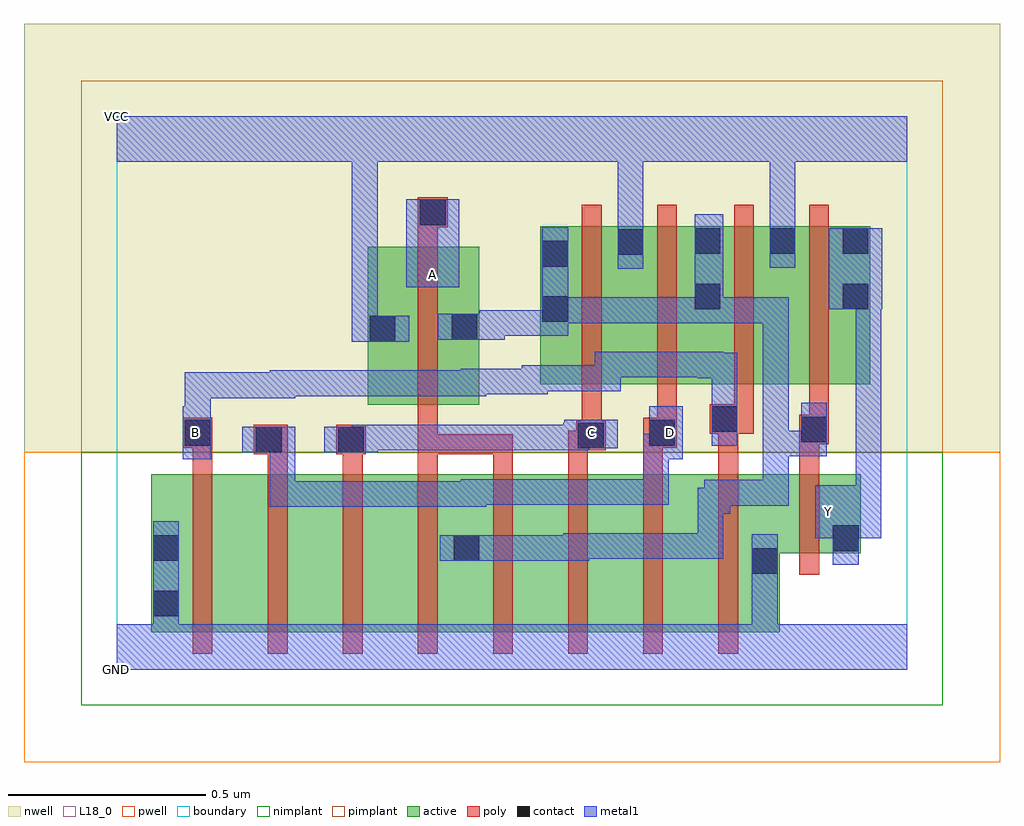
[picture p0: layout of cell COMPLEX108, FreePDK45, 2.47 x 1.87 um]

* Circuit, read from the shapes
.subckt COMPLEX108 A B C D GND VCC Y
M1 n1 B GND VSUBS nfet w=0.4u l=0.05u
M2 n2 D n1 VSUBS nfet w=0.4u l=0.05u
M3 n3 C n2 VSUBS nfet w=0.4u l=0.05u
M4 n4 A n3 VSUBS nfet w=0.4u l=0.05u
M5 n5 A n4 VSUBS nfet w=0.4u l=0.05u
M6 n6 C n5 VSUBS nfet w=0.4u l=0.05u
M7 n7 D n6 VSUBS nfet w=0.4u l=0.05u
M8 GND B n7 VSUBS nfet w=0.4u l=0.05u
M9 Y n4 GND VSUBS nfet w=0.2u l=0.05u
M10 n4 A VCC n8 pfet w=0.4u l=0.05u
M11 VCC C n4 n8 pfet w=0.4u l=0.05u
M12 n4 D VCC n8 pfet w=0.4u l=0.05u
M13 VCC B n4 n8 pfet w=0.4u l=0.05u
M14 Y n4 VCC n8 pfet w=0.4u l=0.05u
.ends

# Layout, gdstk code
import gdstk
lib = gdstk.Library(unit=1e-6, precision=1e-09)
def R(c, l, rs):  # rectangles x0, y0, x1, y1
    for r in rs: c.add(gdstk.rectangle(r[:2], r[2:], *l))
def A(c, l, x, y, w, h, nx, ny, dx, dy):  # array of equal rectangles
    R(c, l, [(x+i*dx, y+j*dy, x+i*dx+w, y+j*dy+h) for i in range(nx) for j in range(ny)])
active = (1, 0)
pwell = (2, 0)
nwell = (3, 0)
nimplant = (4, 0)
pimplant = (5, 0)
poly = (9, 0)
contact = (10, 0)
metal1 = (11, 0)
L18_0 = (18, 0)
boundary = (235, 0)

complex108 = lib.new_cell('COMPLEX108')
R(complex108, active, [(0.087,0.095,0.162,0.495), (0.087,0.095,0.312,0.495), (0.312,0.095,0.502,0.495), (0.502,0.095,0.692,0.495), (0.692,0.095,0.922,0.495), (0.847,0.095,1.072,0.495), (0.847,0.095,0.922,0.492), (1.072,0.095,1.262,0.495), (1.262,0.095,1.452,0.495), (1.452,0.095,1.677,0.495), (1.602,0.095,1.677,0.495), (1.602,0.295,1.882,0.495), (1.807,0.295,1.882,0.495), (0.635,0.67,0.917,1.07), (0.842,0.72,0.917,1.042), (1.072,0.722,1.337,1.122), (1.262,0.722,1.532,1.122), (1.457,0.722,1.722,1.122), (1.647,0.722,1.907,1.122), (1.832,0.722,1.907,1.122), (0.635,0.802,0.71,1.07), (1.072,0.822,1.147,1.12), (1.647,0.855,1.722,1.122), (1.262,0.907,1.337,1.12), (1.457,0.907,1.532,1.122)])
R(complex108, pwell, [(-0.235,-0.235,2.235,0.55)])
R(complex108, nwell, [(-0.235,0.55,2.235,1.635)])
R(complex108, nimplant, [(-0.09,-0.09,2.09,0.55)])
R(complex108, pimplant, [(-0.09,0.55,2.09,1.49)])
A(complex108, poly, 0.192, 0.04, 0.05, 0.51, 8, 1, 0.19, 0)
A(complex108, poly, 0.382, 0.5, 0.05, 0.095, 4, 1, 0.19, 0)
R(complex108, poly, [(1.727,0.24,1.777,0.55), (0.192,0.5,0.242,0.612), (1.142,0.5,1.192,0.605), (1.332,0.5,1.382,0.612), (1.522,0.5,1.572,0.647), (1.727,0.5,1.777,0.62), (0.347,0.545,0.432,0.62), (0.555,0.545,0.63,0.62), (0.572,0.545,0.622,0.595), (0.572,0.545,0.622,0.595), (0.762,0.545,0.812,0.595), (0.762,0.545,0.812,0.595), (0.762,0.545,0.812,0.595), (0.762,0.545,0.812,0.595), (0.762,0.545,0.812,0.595), (0.762,0.545,0.812,0.665), (0.762,0.545,1.002,0.595), (0.952,0.545,1.002,0.595), (1.142,0.555,1.212,0.605), (1.162,0.555,1.212,0.605), (1.162,0.555,1.237,0.63), (0.167,0.562,0.242,0.637), (0.192,0.562,0.242,0.612), (0.192,0.562,0.242,0.612), (1.332,0.562,1.417,0.637), (1.727,0.57,1.777,0.62), (1.727,0.57,1.777,0.62), (1.727,0.57,1.802,0.645), (1.177,0.58,1.227,0.717), (1.367,0.587,1.417,0.637), (1.367,0.587,1.417,0.637), (1.367,0.587,1.417,0.717), (1.752,0.595,1.802,0.717), (1.5,0.597,1.612,0.672), (1.522,0.597,1.572,0.647), (1.522,0.597,1.572,0.647), (0.762,0.615,0.812,1.125), (1.562,0.622,1.612,0.717), (1.177,0.667,1.227,1.177), (1.367,0.667,1.417,1.177), (1.562,0.667,1.612,1.177), (1.752,0.667,1.802,1.177), (0.762,1.075,0.812,1.17), (0.762,1.12,0.837,1.195)])
R(complex108, contact, [(0.092,0.135,0.157,0.2), (1.607,0.242,1.672,0.307), (0.092,0.275,0.157,0.34), (0.852,0.275,0.917,0.34), (1.812,0.3,1.877,0.365), (0.352,0.55,0.417,0.615), (0.56,0.55,0.625,0.615), (1.167,0.56,1.232,0.625), (0.172,0.567,0.237,0.632), (1.347,0.567,1.412,0.632), (1.732,0.575,1.797,0.64), (1.505,0.602,1.57,0.667), (0.64,0.83,0.705,0.895), (0.847,0.835,0.912,0.9), (1.077,0.88,1.142,0.945), (1.462,0.912,1.527,0.977), (1.837,0.912,1.902,0.977), (1.077,1.02,1.142,1.085), (1.267,1.05,1.332,1.115), (1.462,1.052,1.527,1.117), (1.652,1.052,1.717,1.117), (1.837,1.052,1.902,1.117), (0.767,1.125,0.832,1.19)])
R(complex108, metal1, [(0,0,2,0.115), (0.092,0.05,0.157,0.165), (1.607,0.05,1.672,0.272), (0.092,0.1,0.157,0.375), (1.607,0.207,1.672,0.342), (1.812,0.265,1.877,0.4), (0.817,0.275,0.952,0.34), (0.887,0.275,0.952,0.34), (0.887,0.275,0.952,0.34), (0.887,0.275,1.195,0.34), (1.13,0.275,1.195,0.34), (1.13,0.275,1.195,0.34), (1.13,0.275,1.195,0.345), (1.13,0.28,1.39,0.345), (1.325,0.28,1.39,0.345), (1.325,0.28,1.412,0.345), (1.347,0.28,1.412,0.345), (1.347,0.28,1.535,0.345), (1.47,0.28,1.535,0.46), (1.767,0.332,1.935,0.467), (1.812,0.332,1.877,0.397), (1.47,0.395,1.552,0.46), (1.487,0.395,1.552,0.48), (1.87,0.402,1.935,0.977), (1.87,0.402,1.935,0.467), (1.87,0.402,1.935,0.467), (0.387,0.412,0.66,0.477), (0.387,0.412,0.452,0.615), (0.595,0.412,0.66,0.477), (0.595,0.412,0.66,0.477), (0.595,0.412,0.66,0.477), (0.595,0.412,0.797,0.477), (0.732,0.412,0.797,0.477), (0.732,0.412,0.935,0.477), (0.87,0.412,0.935,0.482), (1.487,0.415,1.695,0.48), (1.63,0.415,1.695,0.48), (1.63,0.415,1.695,0.48), (1.63,0.415,1.7,0.48), (1.635,0.415,1.7,0.605), (0.87,0.417,0.935,0.482), (0.87,0.417,0.935,0.482), (0.87,0.417,1.195,0.482), (1.13,0.417,1.195,0.482), (1.13,0.417,1.195,0.482), (1.13,0.417,1.195,0.482), (1.13,0.417,1.397,0.482), (1.332,0.417,1.397,0.597), (0.167,0.532,0.237,0.667), (1.332,0.532,1.412,0.597), (1.347,0.532,1.432,0.667), (1.635,0.54,1.7,0.605), (1.635,0.54,1.797,0.605), (1.635,0.54,1.7,0.942), (1.732,0.54,1.797,0.675), (0.317,0.55,0.452,0.615), (0.387,0.55,0.452,0.615), (0.525,0.55,0.66,0.615), (0.595,0.55,0.66,0.615), (0.595,0.55,0.66,0.62), (0.595,0.555,0.797,0.62), (0.732,0.555,0.797,0.62), (0.732,0.555,0.935,0.62), (0.87,0.555,0.935,0.62), (0.87,0.555,0.935,0.62), (0.87,0.555,0.935,0.62), (0.87,0.555,1.195,0.62), (1.13,0.555,1.195,0.625), (1.13,0.56,1.197,0.625), (1.132,0.56,1.267,0.632), (1.505,0.567,1.57,0.802), (0.172,0.602,0.237,0.667), (0.172,0.602,0.237,0.752), (0.172,0.687,0.452,0.752), (0.387,0.687,0.452,0.757), (0.387,0.692,0.452,0.757), (0.387,0.692,0.452,0.757), (0.387,0.692,0.452,0.757), (0.387,0.692,0.452,0.757), (0.387,0.692,0.66,0.757), (0.595,0.692,0.66,0.757), (0.595,0.692,0.66,0.757), (0.595,0.692,0.66,0.757), (0.595,0.692,0.797,0.757), (0.732,0.692,0.797,0.757), (0.732,0.692,0.797,0.757), (0.732,0.692,0.797,0.757), (0.732,0.692,0.935,0.757), (0.87,0.692,0.935,0.762), (0.87,0.697,1.09,0.762), (1.025,0.697,1.09,0.77), (1.025,0.705,1.275,0.77), (1.21,0.705,1.275,0.805), (1.47,0.737,1.57,0.802), (1.47,0.737,1.535,0.805), (1.21,0.74,1.397,0.805), (1.332,0.74,1.397,0.805), (1.332,0.74,1.397,0.805), (1.332,0.74,1.397,0.805), (1.332,0.74,1.412,0.805), (1.347,0.74,1.412,0.805), (1.347,0.74,1.535,0.805), (0.595,0.83,0.66,0.895), (0.595,0.83,0.66,0.895), (0.595,0.83,0.66,0.895), (0.595,0.83,0.66,0.895), (0.595,0.83,0.66,1.35), (0.595,0.83,0.74,0.895), (0.812,0.835,0.947,0.9), (0.882,0.835,0.982,0.9), (0.917,0.835,0.982,0.91), (0.917,0.845,1.142,0.91), (1.077,0.845,1.142,1.12), (1.077,0.877,1.232,0.942), (1.167,0.877,1.232,0.942), (1.167,0.877,1.39,0.942), (1.325,0.877,1.39,0.942), (1.325,0.877,1.412,0.942), (1.347,0.877,1.412,0.942), (1.347,0.877,1.527,0.942), (1.462,0.877,1.535,1.152), (1.47,0.877,1.535,0.942), (1.47,0.877,1.535,0.942), (1.47,0.877,1.55,0.942), (1.485,0.877,1.55,0.942), (1.485,0.877,1.7,0.942), (1.635,0.877,1.7,0.942), (1.802,0.912,1.937,1.117), (0.732,0.967,0.867,1.19), (1.267,1.015,1.332,1.15), (1.652,1.017,1.717,1.152), (1.267,1.085,1.332,1.15), (1.267,1.085,1.332,1.15), (1.267,1.085,1.332,1.35), (1.652,1.087,1.717,1.35), (0,1.285,2,1.4), (1.267,1.285,1.332,1.35), (1.267,1.285,1.332,1.35), (1.652,1.285,1.717,1.35), (1.652,1.285,1.717,1.35), (1.652,1.285,1.717,1.35), (1.652,1.285,1.717,1.35)])
R(complex108, L18_0, [(0,0,2,0.115), (0.092,0.05,0.157,0.165), (1.607,0.05,1.672,0.272), (0.092,0.1,0.157,0.375), (1.607,0.207,1.672,0.342), (1.812,0.265,1.877,0.4), (1.767,0.332,1.935,0.467), (1.812,0.332,1.877,0.397), (1.767,0.367,1.832,0.432), (1.87,0.402,1.935,0.467), (1.87,0.402,1.935,0.467), (1.87,0.402,1.935,0.977), (0.387,0.412,0.452,0.615), (0.387,0.412,0.66,0.477), (0.595,0.412,0.66,0.477), (0.595,0.412,0.66,0.477), (0.595,0.412,0.66,0.477), (0.595,0.412,0.797,0.477), (0.732,0.412,0.797,0.477), (0.732,0.412,0.935,0.477), (0.87,0.412,0.935,0.482), (0.87,0.417,0.935,0.482), (0.87,0.417,0.935,0.482), (0.87,0.417,1.195,0.482), (1.13,0.417,1.195,0.482), (1.13,0.417,1.195,0.482), (1.13,0.417,1.195,0.482), (1.13,0.417,1.397,0.482), (1.332,0.417,1.397,0.597), (0.167,0.532,0.237,0.667), (1.332,0.532,1.412,0.597), (1.347,0.532,1.432,0.667), (0.317,0.55,0.452,0.615), (0.387,0.55,0.452,0.615), (0.525,0.55,0.66,0.615), (0.595,0.55,0.66,0.615), (0.595,0.55,0.66,0.62), (0.595,0.555,0.797,0.62), (0.732,0.555,0.797,0.62), (0.732,0.555,0.935,0.62), (0.87,0.555,0.935,0.62), (0.87,0.555,0.935,0.62), (0.87,0.555,0.935,0.62), (0.87,0.555,1.195,0.62), (1.13,0.555,1.195,0.625), (1.13,0.56,1.197,0.625), (1.132,0.56,1.267,0.632), (0.167,0.567,0.232,0.632), (1.167,0.567,1.232,0.632), (1.367,0.567,1.432,0.632), (1.505,0.567,1.57,0.802), (0.172,0.602,0.237,0.752), (0.172,0.602,0.237,0.667), (0.172,0.687,0.452,0.752), (0.387,0.687,0.452,0.757), (0.387,0.692,0.452,0.757), (0.387,0.692,0.452,0.757), (0.387,0.692,0.452,0.757), (0.387,0.692,0.452,0.757), (0.387,0.692,0.66,0.757), (0.595,0.692,0.66,0.757), (0.595,0.692,0.66,0.757), (0.595,0.692,0.66,0.757), (0.595,0.692,0.797,0.757), (0.732,0.692,0.797,0.757), (0.732,0.692,0.797,0.757), (0.732,0.692,0.797,0.757), (0.732,0.692,0.935,0.757), (0.87,0.692,0.935,0.762), (0.87,0.697,1.09,0.762), (1.025,0.697,1.09,0.77), (1.025,0.705,1.275,0.77), (1.21,0.705,1.275,0.805), (1.47,0.737,1.535,0.805), (1.47,0.737,1.57,0.802), (1.21,0.74,1.397,0.805), (1.332,0.74,1.397,0.805), (1.332,0.74,1.397,0.805), (1.332,0.74,1.397,0.805), (1.332,0.74,1.412,0.805), (1.347,0.74,1.412,0.805), (1.347,0.74,1.535,0.805), (0.595,0.83,0.66,0.895), (0.595,0.83,0.66,0.895), (0.595,0.83,0.66,0.895), (0.595,0.83,0.66,0.895), (0.595,0.83,0.74,0.895), (0.595,0.83,0.66,1.35), (1.802,0.912,1.937,1.117), (0.732,0.967,0.867,1.19), (0.767,0.967,0.832,1.032), (1.267,1.015,1.332,1.15), (1.652,1.017,1.717,1.152), (1.267,1.085,1.332,1.15), (1.267,1.085,1.332,1.15), (1.267,1.085,1.332,1.35), (1.652,1.087,1.717,1.35), (0,1.285,2,1.4), (1.267,1.285,1.332,1.35), (1.267,1.285,1.332,1.35), (1.652,1.285,1.717,1.35), (1.652,1.285,1.717,1.35), (1.652,1.285,1.717,1.35), (1.652,1.285,1.717,1.35)])
R(complex108, boundary, [(0,0,2,1.4)])
complex108.add(gdstk.Label('A', (0.8,1), layer=11, texttype=0))
complex108.add(gdstk.Label('B', (0.2,0.6), layer=11, texttype=0))
complex108.add(gdstk.Label('C', (1.2,0.6), layer=11, texttype=0))
complex108.add(gdstk.Label('D', (1.4,0.6), layer=11, texttype=0))
complex108.add(gdstk.Label('Y', (1.8,0.4), layer=11, texttype=0))
complex108.add(gdstk.Label('VCC', (0,1.4), layer=11, texttype=0))
complex108.add(gdstk.Label('GND', (0,0), layer=11, texttype=0))

lib.write_gds('COMPLEX108.gds')
